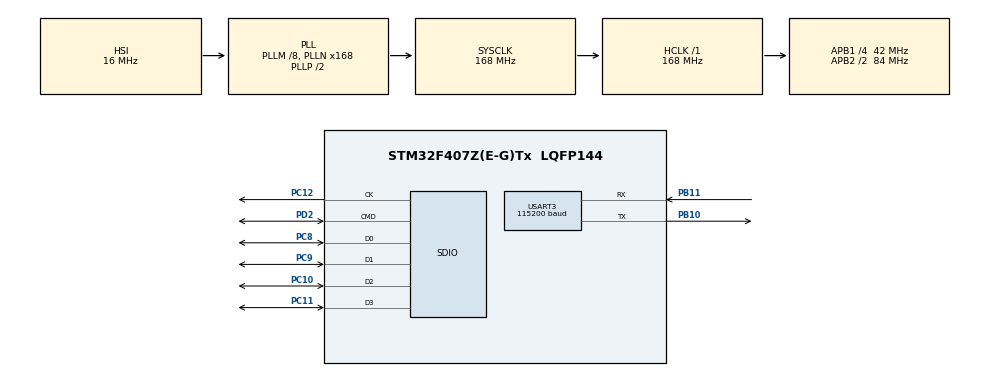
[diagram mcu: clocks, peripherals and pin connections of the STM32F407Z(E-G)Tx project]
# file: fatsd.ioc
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Mcu.Family=STM32F4
FATFS._USE_FORWARD=0
SDIO.ClockEdge=SDIO_CLOCK_EDGE_RISING
Dma.SDIO_TX.1.MemInc=DMA_MINC_ENABLE
PH0-OSC_IN.Signal=RCC_OSC_IN
RCC.CortexFreq_Value=168000000
FATFS._USE_LFN=0
PB10.Mode=Asynchronous
VP_FATFS_VS_SDIO.Mode=SDIO
PC12.Signal=SDIO_CK
PC10.Signal=SDIO_D2
PB11.Signal=USART3_RX
Dma.SDIO_TX.1.PeriphBurst=DMA_PBURST_INC4
FATFS._FS_TINY=0
RCC.SYSCLKSource=RCC_SYSCLKSOURCE_PLLCLK
ProjectManager.StackSize=0x2000
Dma.SDIO_RX.0.Direction=DMA_PERIPH_TO_MEMORY
Dma.SDIO_TX.1.Instance=DMA2_Stream6
Dma.SDIO_TX.1.PeriphInc=DMA_PINC_DISABLE
Dma.SDIO_TX.1.PeriphDataAlignment=DMA_PDATAALIGN_WORD
USART3.BaudRate=115200
FATFS._MAX_LFN=255
RCC.HCLKFreq_Value=168000000
RCC.FLatency=FLASH_LATENCY_5
RCC.APB2TimFreq_Value=168000000
FATFS._MULTI_PARTITION=0
Dma.SDIO_TX.1.FIFOMode=DMA_FIFOMODE_ENABLE
FATFS._LFN_UNICODE=0
RCC.AHBFreq_Value=168000000
PH0-OSC_IN.Mode=HSE-External-Oscillator
RCC.HSE_VALUE=25000000
FATFS._USE_STRFUNC=2
Dma.SDIO_TX.1.MemBurst=DMA_MBURST_INC4
PC9.Mode=SD_4_bits_Wide_bus
FATFS._USE_MKFS=1
Dma.SDIO_TX.1.Direction=DMA_MEMORY_TO_PERIPH
USART3.StopBits=STOPBITS_1
Dma.SDIO_RX.0.MemDataAlignment=DMA_MDATAALIGN_WORD
FATFS._FS_TIMEOUT=1000
FATFS._USE_LABEL=0
PH1-OSC_OUT.Mode=HSE-External-Oscillator
Mcu.Package=LQFP144
PC11.Mode=SD_4_bits_Wide_bus
Dma.SDIO_TX.1.FIFOThreshold=DMA_FIFO_THRESHOLD_FULL
Dma.SDIO_TX.1.Priority=DMA_PRIORITY_LOW
FATFS._FS_MINIMIZE=0
FATFS._FS_LOCK=2
RCC.APB2CLKDivider=RCC_HCLK_DIV2
Dma.Request1=SDIO_TX
RCC.APB1TimFreq_Value=84000000
FATFS._FS_RPATH=0
Dma.SDIO_RX.0.MemBurst=DMA_MBURST_INC4
Dma.SDIO_RX.0.Instance=DMA2_Stream3
Dma.Request0=SDIO_RX
FATFS.SD_BSP_CODE=0
FATFS._MIN_SS=512
Dma.SDIO_RX.0.FIFOMode=DMA_FIFOMODE_ENABLE
Dma.SDIO_RX.0.Mode=DMA_PFCTRL
Dma.SDIO_RX.0.Priority=DMA_PRIORITY_LOW
FATFS._FS_REENTRANT=0
FATFS._FS_NOFSINFO=0
PC11.Signal=SDIO_D3
PC8.Signal=SDIO_D0
Dma.SDIO_RX.0.PeriphInc=DMA_PINC_DISABLE
PC10.Mode=SD_4_bits_Wide_bus
RCC.APB1CLKDivider=RCC_HCLK_DIV4
NVIC.SDIO_IRQn=true\:5\:0\:true\:false\:true\:true\:true
SDIO.ClockBypass=SDIO_CLOCK_BYPASS_DISABLE
SDIO.ClockPowerSave=SDIO_CLOCK_POWER_SAVE_DISABLE
USART3.OverSampling=UART_OVERSAMPLING_16
FATFS._VOLUMES=1
Dma.SDIO_TX.1.MemDataAlignment=DMA_MDATAALIGN_WORD
Dma.SDIO_RX.0.MemInc=DMA_MINC_ENABLE
PB11.Mode=Asynchronous
Dma.SDIO_RX.0.FIFOThreshold=DMA_FIFO_THRESHOLD_FULL
ProjectManager.TargetToolchain=STM32CubeIDE
FATFS._CODE_PAGE=850
FATFS._USE_ERASE=0
SDIO.ClockDiv=0
NVIC.DMA2_Stream3_IRQn=true\:6\:0\:true\:false\:true\:true\:true
NVIC.DMA2_Stream6_IRQn=true\:6\:0\:true\:false\:true\:true\:true
RCC.LSE_VALUE=32768
PB10.Signal=USART3_TX
Dma.SDIO_RX.0.PeriphDataAlignment=DMA_PDATAALIGN_WORD
PD2.Mode=SD_4_bits_Wide_bus
PC12.Mode=SD_4_bits_Wide_bus
FATFS._USE_EXPAND=0
FATFS._STRF_ENCODE=3
board=SD_FATFS
RCC.VCOOutputFreq_Value=336000000
FATFS._USE_FASTSEEK=1
USART3.WordLength=WORDLENGTH_8B
FATFS._FS_NORTC=0
FATFS.USE_DMA_CODE_SD=0
RCC.APB2Freq_Value=84000000
FATFS._FS_EXFAT=0
PH1-OSC_OUT.Signal=RCC_OSC_OUT
Dma.SDIO_TX.1.Mode=DMA_PFCTRL
FATFS._USE_FIND=0
Mcu.Name=STM32F407Z(E-G)Tx
FATFS._MAX_SS=512
FATFS._USE_CHMOD=0
PC8.Mode=SD_4_bits_Wide_bus
RCC.48MHZClocksFreq_Value=48000000
RCC.SYSCLKFreq_VALUE=168000000
USART3.Mode=MODE_TX_RX
USART3.VirtualMode=VM_ASYNC
ProjectManager.HeapSize=0x1000
FATFS._USE_TRIM=0
RCC.HSI_VALUE=16000000
RCC.PLLQ=7
NVIC.PriorityGroup=NVIC_PRIORITYGROUP_4
RCC.PLLM=8
SDIO.HardwareFlowControl=SDIO_HARDWARE_FLOW_CONTROL_DISABLE
RCC.PLLN=168
Dma.SDIO_RX.0.PeriphBurst=DMA_PBURST_INC4
FATFS._HSD=hsd
FATFS._FS_READONLY=0
PC9.Signal=SDIO_D1
PD2.Signal=SDIO_CMD
RCC.APB1Freq_Value=42000000
USART3.Parity=PARITY_NONE

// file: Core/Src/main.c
/* USER CODE BEGIN Header */
/**
  ******************************************************************************
  * @file           : main.c
  * @brief          : Main program body
  ******************************************************************************
  * @attention
  *
  * <h2><center>&copy; Copyright (c) 2021 STMicroelectronics.
  * All rights reserved.</center></h2>
  *
  * This software component is licensed by ST under Ultimate Liberty license
  * SLA0044, the "License"; You may not use this file except in compliance with
  * the License. You may obtain a copy of the License at:
  *                             www.st.com/SLA0044
  *
  ******************************************************************************
  */
/* USER CODE END Header */
#include "main.h"
#include "dma.h"
#include "fatfs.h"
#include "sdio.h"
#include "usart.h"
#include "gpio.h"
#include "stm32f4xx_hal.h"
/* USER CODE BEGIN Includes */
#include <string.h>
#include <stdio.h>
/* USER CODE END Includes */

/* USER CODE BEGIN PM */
 DIR dp;
 FILINFO fno;
/* USER CODE END PM */

/* USER CODE BEGIN PV */
FATFS SDFatFs;  /* File system object for SD card logical drive */
FIL MyFile;     /* File object */
char SDPath[4]; /* SD card logical drive path */
FRESULT res;    /* FatFs function common result code */

/* USER CODE END PV */

void SystemClock_Config(void);
void Error_Handler(void);

/* USER CODE BEGIN PFP */
uint32_t Buffer_Tx[512], Buffer_Rx[512];
/* USER CODE END PFP */

int main(void)
{
  /* USER CODE BEGIN 1 */
	  uint32_t byteswritten, bytesread;                     /* File write/read counts */
	  uint8_t wtext[] = "Hello world!";                     /* File write buffer */
	  uint8_t rtext[100];
  /* USER CODE END 1 */

  /* MCU Configuration--------------------------------------------------------*/

  /* Reset of all peripherals, Initializes the Flash interface and the Systick. */
  HAL_Init();

  /* Configure the system clock */
  SystemClock_Config();

  /* Initialize all configured peripherals */
  MX_GPIO_Init();
  MX_DMA_Init();
  MX_SDIO_SD_Init();
  MX_USART3_UART_Init();
  MX_FATFS_Init();
  /* USER CODE BEGIN 2 */
  printf("> Demo Start \r\n");
  HAL_Delay(500);

  /*##Register the file system object to the FatFs module ##############*/
  printf("> Register the file system object to the FatFs module: ");
  if((res = f_mount(&SDFatFs, (TCHAR const*)SDPath, 0)) != FR_OK) {
    /* FatFs Initialization Error */
    Error_Handler();
  }
  printf("OK\r\n");

  /*##Create and Open a new text file object with write access #####*/
  printf("> Create and Open a new text file object with write access: ");
  if((res = f_open(&MyFile, "STM32.TXT", FA_CREATE_ALWAYS | FA_WRITE)) != FR_OK)
  {
    /* 'STM32.TXT' file Open for write Error */
    Error_Handler();
  }
  printf("OK\r\n");

  /*##Write data to the text file ################################*/
  printf("> Write data to the text file: ");
  if((res = f_write(&MyFile, wtext, sizeof(wtext), (void *)&byteswritten)) != FR_OK)
  {
    /* Write data Error */
    Error_Handler();
  }
  printf("OK\r\n");

  /*##Close the open text file #################################*/
  printf("> Close the open text file: ");
  if((res = f_close(&MyFile)) != FR_OK )
  {
    Error_Handler();
  }
  if(byteswritten == 0)
  {
    /* 'STM32.TXT' file Write or EOF Error */
    printf("'STM32.TXT' file Write or EOF Error\r\n");
    while(1);
  }
  printf("OK\r\n");

  /*##Open the text file object with read access ###############*/
  printf("> Open the text file object with read access: ");
  if((res = f_open(&MyFile, "STM32.TXT", FA_READ)) != FR_OK)
  {
    /* 'STM32.TXT' file Open for read Error */
    Error_Handler();
  }
  printf("OK\r\n");

  /*##Read data from the text file ###########################*/
  printf("> Read data from the text file: ");
  if((res = f_read(&MyFile, rtext, sizeof(rtext), (UINT*)&bytesread)) != FR_OK)
  {
    Error_Handler();
  }
  if(bytesread == 0)
  {
    /* 'STM32.TXT' file Read or EOF Error */
    printf("'STM32.TXT' file Read or EOF Error\r\n");
    while(1);
  }
  printf("OK\r\n");

  /*##Close the open text file #############################*/
  printf("> Close the open text file: ");
  if((res = f_close(&MyFile)) != FR_OK )
  {
    Error_Handler();
  }
  printf("OK\r\n");

  /*##Compare read data with the expected data ############*/
  printf("> Compare read data with the expected data: ");
  if(bytesread != byteswritten)
  {
    /* Read data is different from the expected data */
    printf("Error: Read data is different from the expected data\r\n");
    while(1);
  }
  else
  {
    /* Success of the demo: no error occurrence */
    printf("OK\r\n");
    printf("> Demo Success\r\n");
  }

  /* USER CODE END 2 */

  /* Infinite loop */
  while (1)
  {

  }
}

void SystemClock_Config(void)
{
  RCC_OscInitTypeDef RCC_OscInitStruct = {0};
  RCC_ClkInitTypeDef RCC_ClkInitStruct = {0};

  /** Configure the main internal regulator output voltage
  */
  __HAL_RCC_PWR_CLK_ENABLE();
  __HAL_PWR_VOLTAGESCALING_CONFIG(PWR_REGULATOR_VOLTAGE_SCALE1);
  /** Initializes the RCC Oscillators according to the specified parameters
  * in the RCC_OscInitTypeDef structure.
  */
  RCC_OscInitStruct.OscillatorType = RCC_OSCILLATORTYPE_HSI;
  RCC_OscInitStruct.HSIState = RCC_HSI_ON;
  RCC_OscInitStruct.HSICalibrationValue = RCC_HSICALIBRATION_DEFAULT;
  RCC_OscInitStruct.PLL.PLLState = RCC_PLL_ON;
  RCC_OscInitStruct.PLL.PLLSource = RCC_PLLSOURCE_HSI;
  RCC_OscInitStruct.PLL.PLLM = 8;
  RCC_OscInitStruct.PLL.PLLN = 168;
  RCC_OscInitStruct.PLL.PLLP = RCC_PLLP_DIV2;
  RCC_OscInitStruct.PLL.PLLQ = 7;
  if (HAL_RCC_OscConfig(&RCC_OscInitStruct) != HAL_OK)
  {
    Error_Handler();
  }
  /** Initializes the CPU, AHB and APB buses clocks
  */
  RCC_ClkInitStruct.ClockType = RCC_CLOCKTYPE_HCLK|RCC_CLOCKTYPE_SYSCLK
                              |RCC_CLOCKTYPE_PCLK1|RCC_CLOCKTYPE_PCLK2;
  RCC_ClkInitStruct.SYSCLKSource = RCC_SYSCLKSOURCE_PLLCLK;
  RCC_ClkInitStruct.AHBCLKDivider = RCC_SYSCLK_DIV1;
  RCC_ClkInitStruct.APB1CLKDivider = RCC_HCLK_DIV4;
  RCC_ClkInitStruct.APB2CLKDivider = RCC_HCLK_DIV2;

  if (HAL_RCC_ClockConfig(&RCC_ClkInitStruct, FLASH_LATENCY_5) != HAL_OK)
  {
    Error_Handler();
  }

  /**Configure the Systick interrupt time
  */
HAL_SYSTICK_Config(HAL_RCC_GetHCLKFreq()/1000);

  /**Configure the Systick
  */
HAL_SYSTICK_CLKSourceConfig(SYSTICK_CLKSOURCE_HCLK);

/* SysTick_IRQn interrupt configuration */
HAL_NVIC_SetPriority(SysTick_IRQn, 0, 0);
}

void Error_Handler(void)
{
  /* USER CODE BEGIN Error_Handler_Debug */
  /* User can add his own implementation to report the HAL error return state */
	  switch(res)
	  {
	    case FR_OK:
	      printf("FR_OK = 0, (0) Succeeded \r\n");
	      break;
	    case FR_DISK_ERR:
	      printf("FR_DISK_ERR, (1) A hard error occurred in the low level disk I/O layer \r\n");
	      break;
	    case FR_INT_ERR:
	      printf("FR_INT_ERR, (2) Assertion failed \r\n");
	      break;
	    case FR_NOT_READY:
	      printf("FR_NOT_READY, (3) The physical drive cannot work \r\n");
	      break;
	    case FR_NO_FILE:
	      printf("FR_NO_FILE, (4) Could not find the file \r\n");
	      break;
	    case FR_NO_PATH:
	      printf("FR_NO_PATH, (5) Could not find the path \r\n");
	      break;
	    case FR_INVALID_NAME:
	      printf("FR_INVALID_NAME, (6) The path name format is invalid \r\n");
	      break;
	    case FR_DENIED:
	      printf("FR_DENIED, (7) Access denied due to prohibited access or directory full \r\n");
	      break;
	    case FR_EXIST:
	      printf("FR_EXIST, (8) Access denied due to prohibited access \r\n");
	      break;
	    case FR_INVALID_OBJECT:
	      printf("FR_INVALID_OBJECT, (9) The file/directory object is invalid \r\n");
	      break;
	    case FR_WRITE_PROTECTED:
	      printf("FR_WRITE_PROTECTED, (10) The physical drive is write protected \r\n");
	      break;
	    case FR_INVALID_DRIVE:
	      printf("FR_INVALID_DRIVE, (11) The logical drive number is invalid \r\n");
	      break;
	    case FR_NOT_ENABLED:
	      printf("FR_NOT_ENABLED, (12) The volume has no work area \r\n");
	      break;
	    case FR_NO_FILESYSTEM:
	      printf("FR_NO_FILESYSTEM, (13) There is no valid FAT volume \r\n");
	      break;
	    case FR_MKFS_ABORTED:
	      printf("FR_MKFS_ABORTED, (14) The f_mkfs() aborted due to any parameter error \r\n");
	      break;
	    case FR_TIMEOUT:
	      printf("FR_TIMEOUT, (15) Could not get a grant to access the volume within defined period \r\n");
	      break;
	    case FR_LOCKED:
	      printf("FR_LOCKED, (16) The operation is rejected according to the file sharing policy \r\n");
	      break;
	    case FR_NOT_ENOUGH_CORE:
	      printf("FR_NOT_ENOUGH_CORE, (17) LFN working buffer could not be allocated \r\n");
	      break;
	    case FR_TOO_MANY_OPEN_FILES:
	      printf("FR_TOO_MANY_OPEN_FILES, (18) Number of open files > _FS_SHARE \r\n");
	      break;
	    case FR_INVALID_PARAMETER:
	      printf("FR_INVALID_PARAMETER	    (19) Given parameter is invalid \r\n");
	      break;
	    default:
	      printf("Unknown Error... \r\n");
	      break;
	  }
  while (1)
  {
  }
  /* USER CODE END Error_Handler_Debug */
}

/************************ (C) COPYRIGHT STMicroelectronics *****END OF FILE****/
